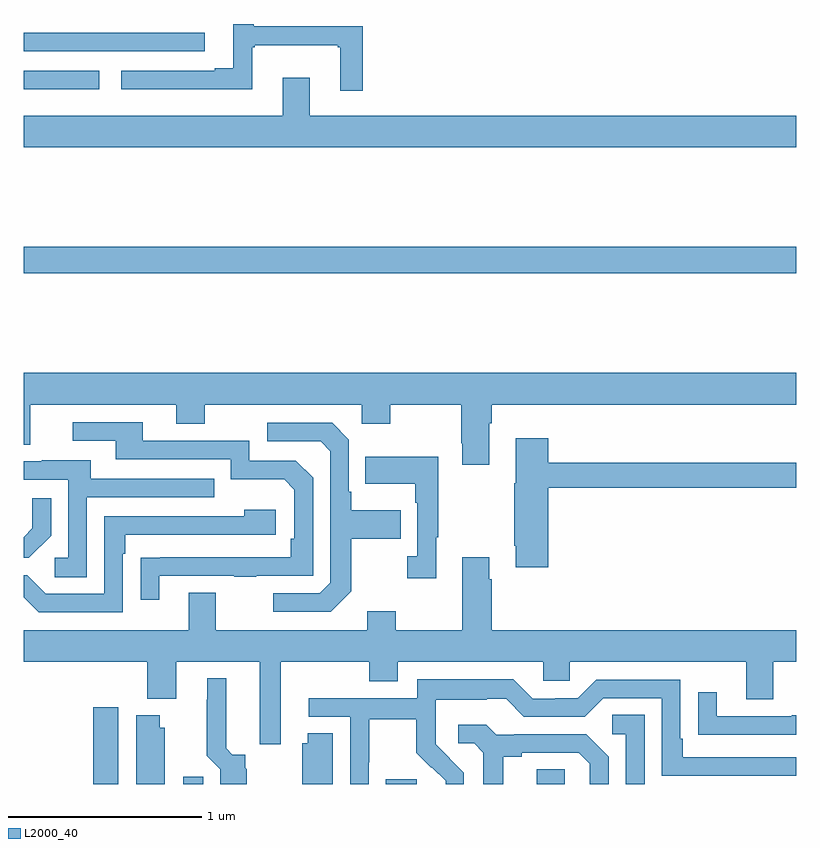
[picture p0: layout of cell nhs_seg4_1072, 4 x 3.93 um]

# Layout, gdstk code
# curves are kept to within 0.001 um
import gdstk
lib = gdstk.Library(unit=1e-6, precision=1e-09)
def R(c, l, rs):  # rectangles x0, y0, x1, y1
    for r in rs: c.add(gdstk.rectangle(r[:2], r[2:], *l))
def P(c, l, *ps):  # polygons
    for p in ps: c.add(gdstk.Polygon(p, *l))
L2000_40 = (2000, 40)

nhs_seg4_1072 = lib.new_cell('nhs_seg4_1072')
R(nhs_seg4_1072, L2000_40, [(167.36,750.9,167.491,751.297), (167.825,750.9,167.929,750.937), (168.875,750.9,169.035,750.925), (169.655,750.9,169.8,750.977), (167,753.544,171,753.68), (167,754.496,167.392,754.593), (167,754.692,167.938,754.789)])
P(nhs_seg4_1072, L2000_40, [(168.755,754.822),(168.19,754.822),(168.19,754.834),(168.086,754.834),(168.086,754.606),(167.99,754.606),(167.99,754.593),(167.505,754.593),(167.505,754.496),(168.184,754.496),(168.184,754.713),(168.196,754.713),(168.196,754.724),(168.627,754.724),(168.627,754.713),(168.638,754.713),(168.638,754.488),(168.755,754.488)],
  [(171,754.36),(168.481,754.36),(168.481,754.555),(168.341,754.555),(168.341,754.36),(167,754.36),(167,754.196),(171,754.196)],
  [(169.411,752.768),(169.424,752.768),(169.424,752.864),(171,752.864),(171,753.028),(167,753.028),(167,752.656),(167.035,752.656),(167.035,752.864),(167.789,752.864),(167.789,752.765),(167.937,752.765),(167.937,752.864),(168.75,752.864),(168.75,752.765),(168.897,752.765),(168.897,752.864),(169.264,752.864),(169.264,752.665),(169.271,752.665),(169.271,752.553),(169.411,752.553)],
  [(167.701,751.977),(168.091,751.977),(168.091,751.972),(168.203,751.972),(168.203,751.977),(168.498,751.977),(168.498,752.484),(168.408,752.574),(168.168,752.574),(168.168,752.676),(167.617,752.676),(167.617,752.772),(167.253,752.772),(167.253,752.676),(167.477,752.676),(167.477,752.58),(168.072,752.58),(168.072,752.477),(168.349,752.477),(168.402,752.424),(168.402,752.17),(168.382,752.17),(168.382,752.073),(167.605,752.072),(167.605,751.854),(167.701,751.854)],
  [(168.697,751.897),(168.697,752.17),(168.953,752.17),(168.953,752.317),(168.697,752.317),(168.697,752.413),(168.684,752.413),(168.684,752.682),(168.597,752.769),(168.261,752.769),(168.261,752.673),(168.537,752.673),(168.588,752.622),(168.588,751.941),(168.534,751.887),(168.291,751.887),(168.291,751.791),(168.591,751.791)],
  [(169.715,752.434),(171,752.434),(171,752.563),(169.715,752.563),(169.715,752.689),(169.547,752.689),(169.547,752.457),(169.54,752.457),(169.54,752.134),(169.547,752.134),(169.547,752.022),(169.715,752.022)],
  [(169.135,752.177),(169.147,752.177),(169.147,752.593),(168.769,752.593),(168.769,752.453),(169.026,752.453),(169.026,752.357),(169.038,752.357),(169.038,752.078),(168.987,752.078),(168.987,751.965),(169.135,751.965)],
  [(167.328,752.385),(167.987,752.385),(167.987,752.481),(167.347,752.481),(167.347,752.575),(167.093,752.575),(167.093,752.571),(167,752.571),(167,752.475),(167.232,752.475),(167.232,752.07),(167.16,752.07),(167.16,751.969),(167.328,751.969)],
  [(167.142,752.186),(167.142,752.38),(167.045,752.38),(167.045,752.223),(167,752.178),(167,752.07),(167.026,752.07)],
  [(167.514,752.093),(167.527,752.093),(167.527,752.19),(168.304,752.19),(168.304,752.32),(168.143,752.32),(168.143,752.286),(167.418,752.286),(167.418,751.884),(167.115,751.884),(167.019,751.98),(167,751.98),(167,751.867),(167.079,751.788),(167.514,751.788)],
  [(168.331,751.532),(168.79,751.532),(168.79,751.433),(168.937,751.433),(168.937,751.532),(169.689,751.532),(169.689,751.434),(169.827,751.434),(169.827,751.532),(170.741,751.532),(170.741,751.338),(170.881,751.338),(170.881,751.532),(171,751.532),(171,751.696),(169.424,751.696),(169.424,751.961),(169.411,751.961),(169.411,752.074),(169.271,752.074),(169.271,751.696),(168.927,751.696),(168.927,751.795),(168.779,751.795),(168.779,751.696),(167.995,751.696),(167.995,751.891),(167.855,751.891),(167.855,751.696),(167,751.696),(167,751.532),(167.639,751.532),(167.639,751.34),(167.791,751.34),(167.791,751.532),(168.221,751.532),(168.221,751.107),(168.331,751.107)],
  [(168.154,750.977),(168.148,750.983),(168.148,751.051),(168.081,751.051),(168.049,751.084),(168.049,751.447),(167.951,751.447),(167.951,751.337),(167.947,751.337),(167.947,751.046),(168.017,750.976),(168.017,750.9),(168.154,750.9)],
  [(168.786,751.012),(168.789,751.012),(168.789,751.236),(169.033,751.236),(169.033,751.061),(169.11,750.984),(169.113,750.987),(169.184,750.917),(169.184,750.9),(169.278,750.9),(169.278,750.958),(169.132,751.106),(169.132,751.203),(169.134,751.203),(169.134,751.337),(169.397,751.337),(169.397,751.341),(169.497,751.341),(169.59,751.248),(169.905,751.248),(170.001,751.344),(170.304,751.344),(170.304,750.942),(171,750.942),(171,751.038),(170.413,751.038),(170.413,751.135),(170.4,751.135),(170.4,751.44),(169.965,751.44),(169.869,751.344),(169.751,751.344),(169.751,751.341),(169.635,751.341),(169.535,751.441),(169.038,751.441),(169.038,751.344),(168.477,751.344),(168.477,751.248),(168.69,751.248),(168.69,750.9),(168.786,750.9)],
  [(171,751.256),(170.977,751.256),(170.977,751.251),(170.587,751.251),(170.587,751.375),(170.491,751.375),(170.491,751.156),(170.593,751.156),(170.593,751.155),(171,751.155)],
  [(170.214,751.259),(170.046,751.259),(170.046,751.158),(170.118,751.158),(170.118,750.9),(170.214,750.9)],
  [(167.731,751.191),(167.704,751.191),(167.704,751.255),(167.582,751.255),(167.582,750.9),(167.731,750.9)],
  [(169.483,751.04),(169.579,751.04),(169.579,751.062),(169.874,751.062),(169.931,751.005),(169.931,750.9),(170.028,750.9),(170.028,751.042),(169.912,751.158),(169.54,751.158),(169.54,751.155),(169.446,751.155),(169.394,751.207),(169.251,751.207),(169.251,751.11),(169.332,751.11),(169.379,751.063),(169.379,750.9),(169.483,750.9)],
  [(168.601,751.163),(168.47,751.163),(168.47,751.11),(168.443,751.11),(168.443,750.9),(168.601,750.9)])

lib.write_gds('nhs_seg4_1072.gds')
